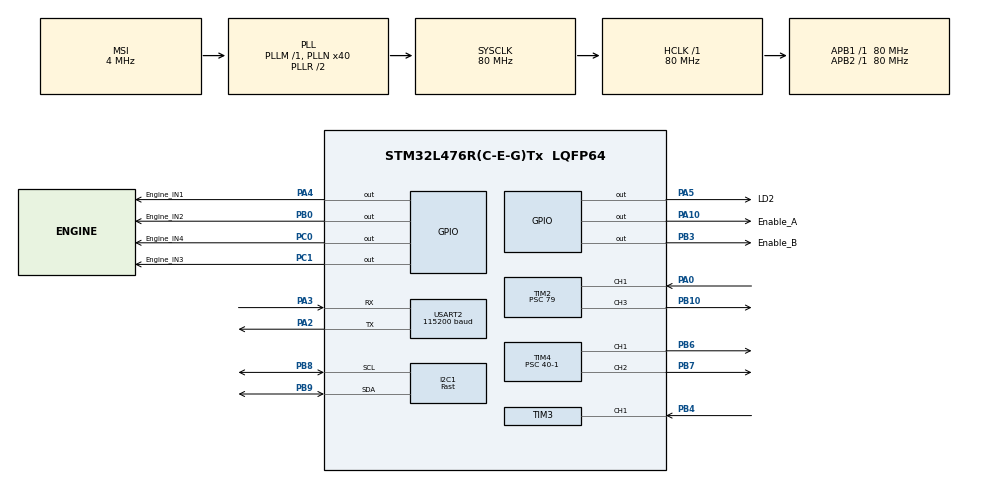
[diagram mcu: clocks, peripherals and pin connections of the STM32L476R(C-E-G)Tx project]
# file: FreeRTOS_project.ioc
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FREERTOS.BinarySemaphores01=Semaphore1_IR_Interrupt,Dynamic,NULL;Semaphore2_IR_Engine,Dynamic,NULL
FREERTOS.Mutexes01=myMutex01,Dynamic,NULL
FREERTOS.Queues01=Queue1_Commands,10,20,1,Dynamic,NULL,NULL;Queue02_EngineCommands,10,10,1,Dynamic,NULL,NULL;Queue03_EngineSpeed,10,10,1,Dynamic,NULL,NULL
FREERTOS.Tasks01=defaultTask,24,256,StartDefaultTask,Default,NULL,Dynamic,NULL,NULL;Task3_CommandDetection,24,256,CommandDetection,Default,NULL,Dynamic,NULL,NULL;Task4_UltrasoundSensor,24,256,UltrasoundSensor,Default,NULL,Dynamic,NULL,NULL;Task2_UsartReceiving,24,256,UsartReceiving,Default,NULL,Dynamic,NULL,NULL;Task10_IR_CommandsDetection,32,128,IR_CommandsDetection,Default,NULL,Dynamic,NULL,NULL;Task11_EngineTask,24,128,EngineTask,Default,NULL,Dynamic,NULL,NULL;Task07_GetCompassMeasurement,24,128,GetCompassMeasurement,Default,NULL,Dynamic,NULL,NULL;Task08_TaskChecking,24,128,TaskChecking,Default,NULL,Dynamic,NULL,NULL
FREERTOS.Timers01=Timer1_USSensorBlocking,Callback01,osTimerOnce,Default,NULL,Dynamic,NULL;Timer2_TurningTimer,Callback02,osTimerOnce,Default,NULL,Dynamic,NULL
FREERTOS.configMAX_TASK_NAME_LEN=32
FREERTOS.configTOTAL_HEAP_SIZE=20000
FREERTOS.configUSE_NEWLIB_REENTRANT=1
I2C1.I2C_Speed_Mode=I2C_Fast
I2C1.Timing=0x00702991
Mcu.Family=STM32L4
Mcu.Name=STM32L476R(C-E-G)Tx
Mcu.Package=LQFP64
NVIC.PriorityGroup=NVIC_PRIORITYGROUP_4
NVIC.TIM2_IRQn=true\:5\:0\:false\:false\:true\:true\:true\:true\:true
NVIC.TIM3_IRQn=true\:5\:0\:false\:false\:true\:true\:true\:true\:true
NVIC.TIM7_IRQn=true\:15\:0\:false\:false\:true\:false\:false\:true\:true
NVIC.TimeBase=TIM7_IRQn
NVIC.TimeBaseIP=TIM7
PA0.Signal=S_TIM2_CH1
PA10.GPIO_Label=Enable_A
PA10.Signal=GPIO_Output
PA13\ (JTMS-SWDIO).Mode=Serial_Wire
PA13\ (JTMS-SWDIO).Signal=SYS_JTMS-SWDIO
PA14\ (JTCK-SWCLK).Mode=Serial_Wire
PA14\ (JTCK-SWCLK).Signal=SYS_JTCK-SWCLK
PA2.Mode=Asynchronous
PA2.Signal=USART2_TX
PA3.Mode=Asynchronous
PA3.Signal=USART2_RX
PA4.GPIO_Label=Engine_IN1
PA4.Signal=GPIO_Output
PA5.GPIO_Label=LD2
PA5.Signal=GPIO_Output
PB0.GPIO_Label=Engine_IN2
PB0.Signal=GPIO_Output
PB10.Signal=S_TIM2_CH3
PB3\ (JTDO-TRACESWO).GPIO_Label=Enable_B
PB3\ (JTDO-TRACESWO).Signal=GPIO_Output
PB4\ (NJTRST).Signal=S_TIM3_CH1
PB6.Signal=S_TIM4_CH1
PB7.Signal=S_TIM4_CH2
PB8.Mode=I2C
PB8.Signal=I2C1_SCL
PB9.Mode=I2C
PB9.Signal=I2C1_SDA
PC0.GPIO_Label=Engine_IN4
PC0.Signal=GPIO_Output
PC1.GPIO_Label=Engine_IN3
PC1.Signal=GPIO_Output
ProjectManager.HeapSize=0x200
ProjectManager.StackSize=0x400
ProjectManager.TargetToolchain=STM32CubeIDE
RCC.AHBFreq_Value=80000000
RCC.APB1Freq_Value=80000000
RCC.APB1TimFreq_Value=80000000
RCC.APB2Freq_Value=80000000
RCC.APB2TimFreq_Value=80000000
RCC.CortexFreq_Value=80000000
RCC.HCLKFreq_Value=80000000
RCC.HSE_VALUE=8000000
RCC.HSI_VALUE=16000000
RCC.LSE_VALUE=32768
RCC.MSI_VALUE=4000000
RCC.PLLN=40
RCC.SYSCLKFreq_VALUE=80000000
RCC.SYSCLKSource=RCC_SYSCLKSOURCE_PLLCLK
RCC.VCOOutputFreq_Value=160000000
SH.S_TIM2_CH1.0=TIM2_CH1,Input_Capture1_from_TI1
SH.S_TIM2_CH3.0=TIM2_CH3,PWM Generation3 CH3
SH.S_TIM3_CH1.0=TIM3_CH1,TriggerSource_TI1ED
SH.S_TIM3_CH1.1=TIM3_CH1,Input_Capture1_from_TI1
SH.S_TIM4_CH1.0=TIM4_CH1,PWM Generation1 CH1
SH.S_TIM4_CH2.0=TIM4_CH2,PWM Generation2 CH2
TIM2.Channel-Input_Capture1_from_TI1=TIM_CHANNEL_1
TIM2.Channel-Input_Capture2_from_TI1_63=TIM_CHANNEL_2
TIM2.Channel-PWM\ Generation3\ CH3=TIM_CHANNEL_3
TIM2.ICPolarity_CH1=TIM_INPUTCHANNELPOLARITY_RISING
TIM2.ICPolarity_CH2=TIM_INPUTCHANNELPOLARITY_FALLING
TIM2.Period=999999
TIM2.Prescaler=79
TIM2.Pulse-PWM\ Generation3\ CH3=10
TIM3.Channel-Input_Capture1_from_TI1=TIM_CHANNEL_1
TIM3.ICPolarity_CH1=TIM_INPUTCHANNELPOLARITY_FALLING
TIM3.Prescaler=79
TIM4.Channel-PWM\ Generation1\ CH1=TIM_CHANNEL_1
TIM4.Channel-PWM\ Generation2\ CH2=TIM_CHANNEL_2
TIM4.Period=100-1
TIM4.Prescaler=40-1
USART2.BaudRate=115200
USART2.VirtualMode-Asynchronous=VM_ASYNC
VP_FREERTOS_VS_CMSIS_V2.Mode=CMSIS_V2
VP_SYS_VS_tim7.Mode=TIM7
VP_TIM2_VS_ClockSourceINT.Mode=Internal
VP_TIM2_VS_indirect_ch1.Mode=Input_Capture2_from_TI1_63
VP_TIM3_VS_ClockSourceINT.Mode=Internal
VP_TIM3_VS_ControllerModeReset.Mode=Reset Mode
VP_TIM4_VS_ClockSourceINT.Mode=Internal
board=custom

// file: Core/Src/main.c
/* USER CODE BEGIN Header */
/**
  ******************************************************************************
  * @file           : main.c
  * @brief          : Main program body
  ******************************************************************************
  * @attention
  *
  * Copyright (c) 2024 STMicroelectronics.
  * All rights reserved.
  *
  * This software is licensed under terms that can be found in the LICENSE file
  * in the root directory of this software component.
  * If no LICENSE file comes with this software, it is provided AS-IS.
  *
  ******************************************************************************
  */
/* USER CODE END Header */
#include "main.h"
#include "cmsis_os.h"
#include "i2c.h"
#include "tim.h"
#include "usart.h"
#include "gpio.h"

/* USER CODE BEGIN Includes */

#include <string.h>
#include <stdio.h>
#include "ir.h"
#include "engine.h"
#include "compass.h"

//--------------------------------OWN LIBRARIES--------------------------------

//-----------------------------------------------------------------------------

/* USER CODE END Includes */

void SystemClock_Config(void);
void MX_FREERTOS_Init(void);

/* USER CODE BEGIN 0 */

int __io_putchar(int ch)
{
    if (ch == '\n') {
        uint8_t ch2 = '\r';
        HAL_UART_Transmit(&huart2, &ch2, 1, HAL_MAX_DELAY);
    }

    HAL_UART_Transmit(&huart2, (uint8_t*)&ch, 1, HAL_MAX_DELAY);
    return 1;
}

/* USER CODE END 0 */

int main(void)
{

  /* MCU Configuration--------------------------------------------------------*/

  /* Reset of all peripherals, Initializes the Flash interface and the Systick. */
  HAL_Init();

  /* Configure the system clock */
  SystemClock_Config();

  /* Initialize all configured peripherals */
  MX_GPIO_Init();
  MX_USART2_UART_Init();
  MX_TIM2_Init();
  MX_TIM3_Init();
  MX_TIM4_Init();
  MX_I2C1_Init();
  /* USER CODE BEGIN 2 */

  EnginesInit();

  ir_init();

  /* USER CODE END 2 */

  /* Init scheduler */
  osKernelInitialize();  /* Call init function for freertos objects (in freertos.c) */
  MX_FREERTOS_Init();

  /* Start scheduler */
  osKernelStart();

  /* We should never get here as control is now taken by the scheduler */
  /* Infinite loop */
  while (1)
  {

  }
}

void SystemClock_Config(void)
{
  RCC_OscInitTypeDef RCC_OscInitStruct = {0};
  RCC_ClkInitTypeDef RCC_ClkInitStruct = {0};

  /** Configure the main internal regulator output voltage
  */
  if (HAL_PWREx_ControlVoltageScaling(PWR_REGULATOR_VOLTAGE_SCALE1) != HAL_OK)
  {
    Error_Handler();
  }

  /** Initializes the RCC Oscillators according to the specified parameters
  * in the RCC_OscInitTypeDef structure.
  */
  RCC_OscInitStruct.OscillatorType = RCC_OSCILLATORTYPE_MSI;
  RCC_OscInitStruct.MSIState = RCC_MSI_ON;
  RCC_OscInitStruct.MSICalibrationValue = 0;
  RCC_OscInitStruct.MSIClockRange = RCC_MSIRANGE_6;
  RCC_OscInitStruct.PLL.PLLState = RCC_PLL_ON;
  RCC_OscInitStruct.PLL.PLLSource = RCC_PLLSOURCE_MSI;
  RCC_OscInitStruct.PLL.PLLM = 1;
  RCC_OscInitStruct.PLL.PLLN = 40;
  RCC_OscInitStruct.PLL.PLLP = RCC_PLLP_DIV7;
  RCC_OscInitStruct.PLL.PLLQ = RCC_PLLQ_DIV2;
  RCC_OscInitStruct.PLL.PLLR = RCC_PLLR_DIV2;
  if (HAL_RCC_OscConfig(&RCC_OscInitStruct) != HAL_OK)
  {
    Error_Handler();
  }

  /** Initializes the CPU, AHB and APB buses clocks
  */
  RCC_ClkInitStruct.ClockType = RCC_CLOCKTYPE_HCLK|RCC_CLOCKTYPE_SYSCLK
                              |RCC_CLOCKTYPE_PCLK1|RCC_CLOCKTYPE_PCLK2;
  RCC_ClkInitStruct.SYSCLKSource = RCC_SYSCLKSOURCE_PLLCLK;
  RCC_ClkInitStruct.AHBCLKDivider = RCC_SYSCLK_DIV1;
  RCC_ClkInitStruct.APB1CLKDivider = RCC_HCLK_DIV1;
  RCC_ClkInitStruct.APB2CLKDivider = RCC_HCLK_DIV1;

  if (HAL_RCC_ClockConfig(&RCC_ClkInitStruct, FLASH_LATENCY_4) != HAL_OK)
  {
    Error_Handler();
  }
}

void HAL_TIM_PeriodElapsedCallback(TIM_HandleTypeDef *htim)
{
  if (htim->Instance == TIM7) {
    HAL_IncTick();
  }
}

void Error_Handler(void)
{
  __disable_irq();
  while (1)
  {
  }
}

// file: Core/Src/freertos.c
/* USER CODE BEGIN Header */
/**
  ******************************************************************************
  * File Name          : freertos.c
  * Description        : Code for freertos applications
  ******************************************************************************
  * @attention
  *
  * Copyright (c) 2024 STMicroelectronics.
  * All rights reserved.
  *
  * This software is licensed under terms that can be found in the LICENSE file
  * in the root directory of this software component.
  * If no LICENSE file comes with this software, it is provided AS-IS.
  *
  ******************************************************************************
  */
/* USER CODE END Header */

#include "FreeRTOS.h"
#include "task.h"
#include "main.h"
#include "cmsis_os.h"

/* USER CODE BEGIN Includes */

#include <string.h>
#include <stdio.h>
#include <usart.h>
#include <tim.h>
#include "ir.h"
#include "engine.h"
#include "compass.h"

/* USER CODE END Includes */

/* USER CODE BEGIN PD */

#define MAX_LENGTH_OF_LINE_RECEIVED_BY_USART 20
#define configUSE_TIME_SLICING 1

/* USER CODE END PD */

/* Definitions for defaultTask */
osThreadId_t defaultTaskHandle;
const osThreadAttr_t defaultTask_attributes = {
  .name = "defaultTask",
  .stack_size = 256 * 4,
  .priority = (osPriority_t) osPriorityNormal,
};
/* Definitions for Task3_CommandDetection */
osThreadId_t Task3_CommandDetectionHandle;
const osThreadAttr_t Task3_CommandDetection_attributes = {
  .name = "Task3_CommandDetection",
  .stack_size = 256 * 4,
  .priority = (osPriority_t) osPriorityNormal,
};
/* Definitions for Task4_UltrasoundSensor */
osThreadId_t Task4_UltrasoundSensorHandle;
const osThreadAttr_t Task4_UltrasoundSensor_attributes = {
  .name = "Task4_UltrasoundSensor",
  .stack_size = 256 * 4,
  .priority = (osPriority_t) osPriorityNormal,
};
/* Definitions for Task2_UsartReceiving */
osThreadId_t Task2_UsartReceivingHandle;
const osThreadAttr_t Task2_UsartReceiving_attributes = {
  .name = "Task2_UsartReceiving",
  .stack_size = 256 * 4,
  .priority = (osPriority_t) osPriorityNormal,
};
/* Definitions for Task10_IR_CommandsDetection */
osThreadId_t Task10_IR_CommandsDetectionHandle;
const osThreadAttr_t Task10_IR_CommandsDetection_attributes = {
  .name = "Task10_IR_CommandsDetection",
  .stack_size = 128 * 4,
  .priority = (osPriority_t) osPriorityAboveNormal,
};
/* Definitions for Task11_EngineTask */
osThreadId_t Task11_EngineTaskHandle;
const osThreadAttr_t Task11_EngineTask_attributes = {
  .name = "Task11_EngineTask",
  .stack_size = 128 * 4,
  .priority = (osPriority_t) osPriorityNormal,
};
/* Definitions for Task07_GetCompassMeasurement */
osThreadId_t Task07_GetCompassMeasurementHandle;
const osThreadAttr_t Task07_GetCompassMeasurement_attributes = {
  .name = "Task07_GetCompassMeasurement",
  .stack_size = 128 * 4,
  .priority = (osPriority_t) osPriorityNormal,
};
/* Definitions for Task08_TaskChecking */
osThreadId_t Task08_TaskCheckingHandle;
const osThreadAttr_t Task08_TaskChecking_attributes = {
  .name = "Task08_TaskChecking",
  .stack_size = 128 * 4,
  .priority = (osPriority_t) osPriorityNormal,
};
/* Definitions for Queue1_Commands */
osMessageQueueId_t Queue1_CommandsHandle;
const osMessageQueueAttr_t Queue1_Commands_attributes = {
  .name = "Queue1_Commands"
};
/* Definitions for Queue02_EngineCommands */
osMessageQueueId_t Queue02_EngineCommandsHandle;
const osMessageQueueAttr_t Queue02_EngineCommands_attributes = {
  .name = "Queue02_EngineCommands"
};
/* Definitions for Queue03_EngineSpeed */
osMessageQueueId_t Queue03_EngineSpeedHandle;
const osMessageQueueAttr_t Queue03_EngineSpeed_attributes = {
  .name = "Queue03_EngineSpeed"
};
/* Definitions for Timer1_USSensorBlocking */
osTimerId_t Timer1_USSensorBlockingHandle;
const osTimerAttr_t Timer1_USSensorBlocking_attributes = {
  .name = "Timer1_USSensorBlocking"
};
/* Definitions for Timer2_TurningTimer */
osTimerId_t Timer2_TurningTimerHandle;
const osTimerAttr_t Timer2_TurningTimer_attributes = {
  .name = "Timer2_TurningTimer"
};
/* Definitions for myMutex01 */
osMutexId_t myMutex01Handle;
const osMutexAttr_t myMutex01_attributes = {
  .name = "myMutex01"
};
/* Definitions for Semaphore1_IR_Interrupt */
osSemaphoreId_t Semaphore1_IR_InterruptHandle;
const osSemaphoreAttr_t Semaphore1_IR_Interrupt_attributes = {
  .name = "Semaphore1_IR_Interrupt"
};
/* Definitions for Semaphore2_IR_Engine */
osSemaphoreId_t Semaphore2_IR_EngineHandle;
const osSemaphoreAttr_t Semaphore2_IR_Engine_attributes = {
  .name = "Semaphore2_IR_Engine"
};

/* USER CODE BEGIN FunctionPrototypes */
void HAL_TIM_IC_CaptureCallback(TIM_HandleTypeDef *htim)
{
  if (htim == &htim3)
  {

	osSemaphoreRelease(Semaphore1_IR_InterruptHandle);
    switch (HAL_TIM_GetActiveChannel(&htim3))
    {
      case HAL_TIM_ACTIVE_CHANNEL_1:
        ir_tim_interrupt();
        break;
      default:
        break;
    }
  }
}
/* USER CODE END FunctionPrototypes */

void StartDefaultTask(void *argument);
void CommandDetection(void *argument);
void UltrasoundSensor(void *argument);
void UsartReceiving(void *argument);
void IR_CommandsDetection(void *argument);
void EngineTask(void *argument);
void GetCompassMeasurement(void *argument);
void TaskChecking(void *argument);
void Callback01(void *argument);
void Callback02(void *argument);

void MX_FREERTOS_Init(void); /* (MISRA C 2004 rule 8.1) */

void MX_FREERTOS_Init(void) {
  /* Create the mutex(es) */
  /* creation of myMutex01 */
  myMutex01Handle = osMutexNew(&myMutex01_attributes);

  /* Create the semaphores(s) */
  /* creation of Semaphore1_IR_Interrupt */
  Semaphore1_IR_InterruptHandle = osSemaphoreNew(1, 1, &Semaphore1_IR_Interrupt_attributes);

  /* creation of Semaphore2_IR_Engine */
  Semaphore2_IR_EngineHandle = osSemaphoreNew(1, 1, &Semaphore2_IR_Engine_attributes);

  /* Create the timer(s) */
  /* creation of Timer1_USSensorBlocking */
  Timer1_USSensorBlockingHandle = osTimerNew(Callback01, osTimerOnce, NULL, &Timer1_USSensorBlocking_attributes);

  /* creation of Timer2_TurningTimer */
  Timer2_TurningTimerHandle = osTimerNew(Callback02, osTimerOnce, NULL, &Timer2_TurningTimer_attributes);

  /* Create the queue(s) */
  /* creation of Queue1_Commands */
  Queue1_CommandsHandle = osMessageQueueNew (10, 20, &Queue1_Commands_attributes);

  /* creation of Queue02_EngineCommands */
  Queue02_EngineCommandsHandle = osMessageQueueNew (10, 10, &Queue02_EngineCommands_attributes);

  /* creation of Queue03_EngineSpeed */
  Queue03_EngineSpeedHandle = osMessageQueueNew (10, 10, &Queue03_EngineSpeed_attributes);

  /* Create the thread(s) */
  /* creation of defaultTask */
  defaultTaskHandle = osThreadNew(StartDefaultTask, NULL, &defaultTask_attributes);

  /* creation of Task3_CommandDetection */
  Task3_CommandDetectionHandle = osThreadNew(CommandDetection, NULL, &Task3_CommandDetection_attributes);

  /* creation of Task4_UltrasoundSensor */
  Task4_UltrasoundSensorHandle = osThreadNew(UltrasoundSensor, NULL, &Task4_UltrasoundSensor_attributes);

  /* creation of Task2_UsartReceiving */
  Task2_UsartReceivingHandle = osThreadNew(UsartReceiving, NULL, &Task2_UsartReceiving_attributes);

  /* creation of Task10_IR_CommandsDetection */
  Task10_IR_CommandsDetectionHandle = osThreadNew(IR_CommandsDetection, NULL, &Task10_IR_CommandsDetection_attributes);

  /* creation of Task11_EngineTask */
  Task11_EngineTaskHandle = osThreadNew(EngineTask, NULL, &Task11_EngineTask_attributes);

  /* creation of Task07_GetCompassMeasurement */
  Task07_GetCompassMeasurementHandle = osThreadNew(GetCompassMeasurement, NULL, &Task07_GetCompassMeasurement_attributes);

  /* creation of Task08_TaskChecking */
  Task08_TaskCheckingHandle = osThreadNew(TaskChecking, NULL, &Task08_TaskChecking_attributes);

}

void StartDefaultTask(void *argument)
{
  for(;;)
  {
    osDelay(1);
  }
}

void CommandDetection(void *argument)
{
  /* USER CODE BEGIN CommandDetection */
	char ReceivedValue[MAX_LENGTH_OF_LINE_RECEIVED_BY_USART + 1];
	  /* Infinite loop */
	  for(;;){
		 osMessageQueueGet(Queue1_CommandsHandle, ReceivedValue, 0, osWaitForever);
		  //ReceivedValue = osMessageGet(Queue1_CommandsHandle, osWaitForever)
		  if (strcmp(ReceivedValue, "on") == 0){
			  HAL_GPIO_WritePin(LD2_GPIO_Port, LD2_Pin, GPIO_PIN_SET);
		  }else if (strcmp(ReceivedValue, "off") == 0) {
			  HAL_GPIO_WritePin(LD2_GPIO_Port, LD2_Pin, GPIO_PIN_RESET);
		  }else {
			  printf("Nieznane polecenie: %s\n", ReceivedValue);
		  }

		  osDelay(1);
	  }
	  osThreadTerminate(NULL);
  /* USER CODE END CommandDetection */
}

void UltrasoundSensor(void *argument)
{
  /* USER CODE BEGIN UltrasoundSensor */
	HAL_TIM_IC_Start(&htim2, TIM_CHANNEL_1);
	HAL_TIM_IC_Start(&htim2, TIM_CHANNEL_2);
	HAL_TIM_PWM_Start(&htim2, TIM_CHANNEL_3);
	osDelay(1000);
  /* Infinite loop */
  for(;;)
  {

	uint32_t start = HAL_TIM_ReadCapturedValue(&htim2, TIM_CHANNEL_1);
	uint32_t stop = HAL_TIM_ReadCapturedValue(&htim2, TIM_CHANNEL_2);
	uint32_t distance = (stop - start) / 58.0f;
	if(distance < 20 && !osTimerIsRunning(Timer1_USSensorBlockingHandle)){
		engine_state state = STOP;
		osSemaphoreRelease(Semaphore1_IR_InterruptHandle);
		osSemaphoreAcquire(Semaphore1_IR_InterruptHandle, 0);
		osMessageQueuePut(Queue02_EngineCommandsHandle, &state, 0, 200);
		osSemaphoreRelease(Semaphore2_IR_EngineHandle);
		osTimerStart(Timer1_USSensorBlockingHandle, 2000 / portTICK_PERIOD_MS);
	}

	osDelay(1);

  }
  osThreadTerminate(NULL);
  /* USER CODE END UltrasoundSensor */
}

void UsartReceiving(void *argument)
{
  /* USER CODE BEGIN UsartReceiving */
      static char line_buffer[MAX_LENGTH_OF_LINE_RECEIVED_BY_USART + 1];
	  static uint32_t line_length;
	  static uint8_t value;

	  static char receivedLine[MAX_LENGTH_OF_LINE_RECEIVED_BY_USART + 1]; // +1 for null terminator

	  /* Infinite loop */
	  for(;;)
	  {
		  if (HAL_UART_Receive(&huart2, &value, 1, 0) == HAL_OK){
		  		if (value == '\r' || value == '\n') {
		  			// end of line character received
		  			if (line_length > 0){
		  				// if the buffer is not empty, we add the \0 character at the end of the line
		  				line_buffer[line_length] = '\0';
		  				// passing the buffer to CommendDetection Task by queue
		  			    strncpy(receivedLine, line_buffer, line_length);
		  			    receivedLine[line_length] = '\0'; // Ensure null termination
		  				osMessageQueuePut(Queue1_CommandsHandle, receivedLine, 0, 200);

		  				/********debugging lines

		  				int x = osMessageQueueGetCapacity(Queue1_CommandsHandle);
		  				int y = osMessageQueueGetMsgSize(Queue1_CommandsHandle

		  				**************************/

		  				// starting data collection again
		  				line_length = 0;
		  			}
		  		}
		  		else {
		  			if (line_length >= MAX_LENGTH_OF_LINE_RECEIVED_BY_USART) {
		  				// too much data, we delete what we have collected so far
		  				line_length = 0;
		  			}
		  			// we add the value to the buffer
		  			line_buffer[line_length++] = value;
		  		}
		  	}

	    osDelay(1);
	  }

	  osThreadTerminate(NULL);
  /* USER CODE END UsartReceiving */
}

void IR_CommandsDetection(void *argument)
{
  /* USER CODE BEGIN IR_CommandsDetection */
  /* Infinite loop */
  for(;;)
  {

	  	if(osSemaphoreAcquire(Semaphore1_IR_InterruptHandle, 0) == osOK){

	  		int value = ir_read();
	  		engine_state state = STOP;
	  		engine_speed speed = KEEP;

	  		if(value == IR_CODE_TEST || value == IR_CODE_0){
	  			switch (value){
					   case IR_CODE_TEST:
						     speed = FASTER;
						     osMessageQueuePut(Queue03_EngineSpeedHandle, &speed, 0, 200);
					     break;
					   case IR_CODE_0  :
						     speed = SLOWER;
						     osMessageQueuePut(Queue03_EngineSpeedHandle, &speed, 0, 200);
					     break;
					   default:

					   	 break;
	  			}
	  		}else{
				switch (value) {

					    case IR_CODE_PLUS:
							  state = MOVE_FORWARD;
							  osMessageQueuePut(Queue02_EngineCommandsHandle, &state, 0, 200);
						  break;
						case IR_CODE_FORWARD:
							  state = TURN_RIGHT;
							  osMessageQueuePut(Queue02_EngineCommandsHandle, &state, 0, 200);
						  break;
						case IR_CODE_MINUS:
							  state = MOVE_BACKWARD;
							  osMessageQueuePut(Queue02_EngineCommandsHandle, &state, 0, 200);
						  break;
						case IR_CODE_REWIND:
							  state = TURN_LEFT;
							  osMessageQueuePut(Queue02_EngineCommandsHandle, &state, 0, 200);
						  break;
						case IR_CODE_PLAY:
							  state = STOP;
							  osMessageQueuePut(Queue02_EngineCommandsHandle, &state, 0, 200);
						  break;
						default:
							//printf("Inna komenda");
							break;
						}
	  		}
	  		osSemaphoreRelease(Semaphore2_IR_EngineHandle);
	  	}

    osDelay(1);
  }
  osThreadTerminate(NULL);
  /* USER CODE END IR_CommandsDetection */
}

void EngineTask(void *argument)
{
  /* USER CODE BEGIN EngineTask */
	engine_state IR_ReceivedValue_state;
	engine_speed IR_ReceivedValue_speed;
  /* Infinite loop */
  for(;;)
  {
	  if(osSemaphoreAcquire(Semaphore2_IR_EngineHandle, 0) == osOK){

	  	  //osMutexAcquire(myMutex01Handle, 0);
	  	  //osThreadId_t x = osMutexGetOwner(myMutex01Handle);
		  if(osMessageQueueGet(Queue02_EngineCommandsHandle, &IR_ReceivedValue_state, 0, 200) == osOK){
			  Engine(IR_ReceivedValue_state);
			  if(IR_ReceivedValue_state == TURN_RIGHT || IR_ReceivedValue_state == TURN_LEFT){
				 osTimerStart(Timer2_TurningTimerHandle, 60 / portTICK_PERIOD_MS);
			  }
		  }else if(osMessageQueueGet(Queue03_EngineSpeedHandle, &IR_ReceivedValue_speed, 0, 200) == osOK){
			  EnginesSpeed(IR_ReceivedValue_speed);
		  }

	  }

    osDelay(1);
  }
  osThreadTerminate(NULL);
  /* USER CODE END EngineTask */
}

void GetCompassMeasurement(void *argument)
{
  for(;;)
  {
    osDelay(1);
  }
}

void TaskChecking(void *argument)
{
  /* USER CODE BEGIN TaskChecking */
  /* Infinite loop */
  for(;;)
  {
	  if(Task10_IR_CommandsDetectionHandle == NULL){
		  Task10_IR_CommandsDetectionHandle = osThreadNew(IR_CommandsDetection, NULL, &Task10_IR_CommandsDetection_attributes);
	  }
	  if(Task4_UltrasoundSensorHandle == NULL){
		  Task4_UltrasoundSensorHandle = osThreadNew(UltrasoundSensor, NULL, &Task4_UltrasoundSensor_attributes);
	  }
	  if(Task11_EngineTaskHandle == NULL){
		  Task11_EngineTaskHandle = osThreadNew(EngineTask, NULL, &Task11_EngineTask_attributes);
	  }

    osDelay(1);
  }
  /* USER CODE END TaskChecking */
}

/* Callback01 function */
void Callback01(void *argument)
{
}

/* Callback02 function */
void Callback02(void *argument)
{
  /* USER CODE BEGIN Callback02 */

	Engine(STOP);

  /* USER CODE END Callback02 */
}
